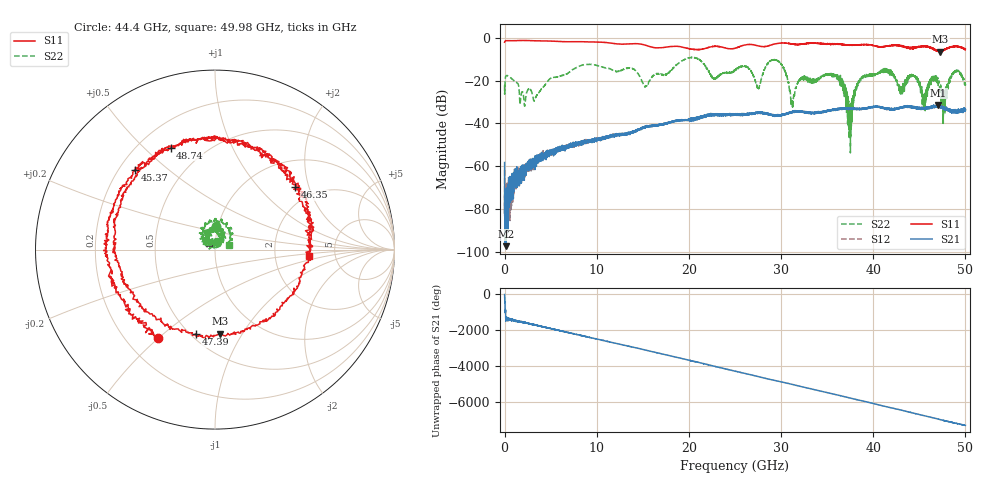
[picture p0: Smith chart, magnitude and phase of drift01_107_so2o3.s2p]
!Created with skrf (http://scikit-rf.org).
# Hz S RI R 50.0
!freq ReS11 ImS11 ReS21 ImS21 ReS12 ImS12 ReS22 ImS22
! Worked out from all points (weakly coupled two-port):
!   10001 points, 300 kHz to 50 GHz, reference 50 ohm
!   highest |S21| = -31.33 dB at 47.06 GHz (marker M1); lowest = -97.1 dB at 145.3 MHz (marker M2)
!   lowest |S11| = -6.6 dB at 47.28 GHz (marker M3), VSWR 2.77, Z = 33.5 - j40.2 ohm
!   |S11| at or under -10 dB: nowhere
!   |S22| runs from -53.7 to -9.2 dB; largest |S21 - S12| = 0.0037
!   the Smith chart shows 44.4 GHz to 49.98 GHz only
!   S11 on the Smith chart (normalised r, x): 44.4 GHz: 0.33, -0.50; 45.37 GHz: 0.26, +0.39; 46.35 GHz: 1.59, +1.64; 47.39 GHz: 0.53, -0.65; 48.74 GHz: 0.33, +0.60; 49.98 GHz: 3.17, -0.31
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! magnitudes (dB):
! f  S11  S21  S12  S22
! 300 kHz  -2.2  -58.2  -61.7  -22.2
! 145.3 MHz  -1.5  -97.1  -78.4  -17.9
! 3.29 GHz  -1.5  -58.6  -57.1  -28.8
! 8.335 GHz  -1.9  -49.2  -48.7  -12.9
! 16.67 GHz  -4.8  -40.8  -40.8  -16.7
! 25 GHz  -5.0  -35.8  -36.0  -15.5
! 29.59 GHz  -2.8  -36.5  -36.2  -10.6
! 31.24 GHz  -3.0  -34.6  -34.5  -32.4
! 33.34 GHz  -2.6  -35.1  -35.2  -20.1
! 36.08 GHz  -3.1  -33.6  -33.3  -17.9
! 37.47 GHz  -3.6  -33.1  -33.0  -34.5
! 38.66 GHz  -3.3  -33.3  -33.1  -19.9
! 41.67 GHz  -3.9  -33.3  -33.1  -16.0
! 44.4 GHz  -4.6  -32.4  -32.4  -17.6
! 45.37 GHz  -4.0  -33.1  -33.0  -28.7
! 46.35 GHz  -4.9  -32.3  -32.2  -20.1
! 47.06 GHz  -6.4  -31.3  -31.7  -22.3
! 47.28 GHz  -6.6  -32.3  -32.3  -23.4
! 47.39 GHz  -6.3  -32.8  -32.5  -29.6
! 48.74 GHz  -4.2  -34.9  -34.1  -16.3
! 49.98 GHz  -5.6  -33.9  -33.6  -21.5
! 50 GHz  -5.5  -33.6  -33.8  -21.7
